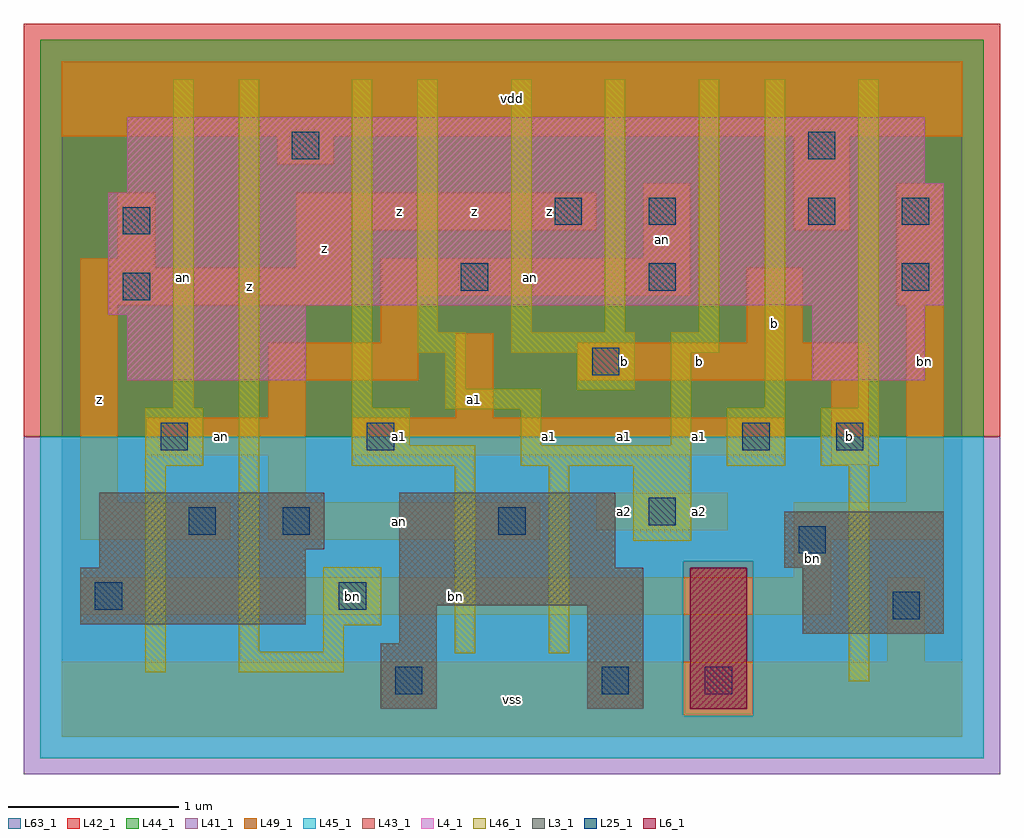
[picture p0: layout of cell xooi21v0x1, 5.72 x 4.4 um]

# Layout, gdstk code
import gdstk
lib = gdstk.Library(unit=1e-6, precision=1e-09)
def R(c, l, rs):  # rectangles x0, y0, x1, y1
    for r in rs: c.add(gdstk.rectangle(r[:2], r[2:], *l))
def A(c, l, x, y, w, h, nx, ny, dx, dy):  # array of equal rectangles
    R(c, l, [(x+i*dx, y+j*dy, x+i*dx+w, y+j*dy+h) for i in range(nx) for j in range(ny)])
L3_1 = (3, 1)
L4_1 = (4, 1)
L6_1 = (6, 1)
L25_1 = (25, 1)
L41_1 = (41, 1)
L42_1 = (42, 1)
L43_1 = (43, 1)
L44_1 = (44, 1)
L45_1 = (45, 1)
L46_1 = (46, 1)
L49_1 = (49, 1)
L63_1 = (63, 1)

xooi21v0x1 = lib.new_cell('xooi21v0x1')
R(xooi21v0x1, L3_1, [(1.87,0.165,2.2,0.55), (3.08,0.165,3.41,0.77), (1.98,0.55,2.2,0.77), (4.345,0.605,5.17,0.99), (0.11,0.66,1.43,0.99), (1.98,0.77,3.41,0.99), (0.22,0.99,1.43,1.1), (1.98,0.99,3.245,1.43), (4.235,0.99,5.17,1.32), (0.22,1.1,1.54,1.43)])
R(xooi21v0x1, L4_1, [(0.385,2.09,1.43,2.475), (4.4,2.09,5.06,2.53), (0.275,2.475,1.43,2.53), (0.275,2.53,5.17,3.19), (0.385,3.19,5.17,3.245), (0.385,3.245,5.06,3.63)])
R(xooi21v0x1, L6_1, [(3.685,0.165,4.015,0.99)])
R(xooi21v0x1, L25_1, [(1.955,0.25,2.115,0.41), (3.165,0.25,3.325,0.41), (3.77,0.25,3.93,0.41), (4.87,0.69,5.03,0.85), (0.195,0.745,0.355,0.905), (1.625,0.745,1.785,0.905), (4.32,1.075,4.48,1.235), (0.745,1.185,0.905,1.345), (1.295,1.185,1.455,1.345), (2.56,1.185,2.72,1.345), (3.44,1.24,3.6,1.4), (0.58,1.68,0.74,1.84), (1.79,1.68,1.95,1.84), (3.99,1.68,4.15,1.84), (4.54,1.68,4.7,1.84), (3.11,2.12,3.27,2.28), (0.36,2.56,0.52,2.72), (2.34,2.615,2.5,2.775), (3.44,2.615,3.6,2.775), (4.925,2.615,5.085,2.775), (0.36,2.945,0.52,3.105), (2.89,3,3.05,3.16), (3.44,3,3.6,3.16), (4.375,3,4.535,3.16), (4.925,3,5.085,3.16), (1.35,3.385,1.51,3.545), (4.375,3.385,4.535,3.545)])
R(xooi21v0x1, L41_1, [(-0.22,-0.22,5.5,1.76)])
R(xooi21v0x1, L42_1, [(-0.22,1.76,5.5,4.18)])
R(xooi21v0x1, L43_1, [(1.87,0.165,2.2,0.55), (3.08,0.165,3.41,0.77), (3.685,0.165,4.015,0.99), (1.98,0.55,2.2,0.77), (4.345,0.605,5.17,0.99), (0.11,0.66,1.43,0.99), (1.98,0.77,3.41,0.99), (0.22,0.99,1.43,1.1), (1.98,0.99,3.245,1.43), (4.235,0.99,5.17,1.32), (0.22,1.1,1.54,1.43), (0.385,2.09,1.43,2.475), (4.4,2.09,5.06,2.53), (0.275,2.475,1.43,2.53), (0.275,2.53,5.17,3.19), (0.385,3.19,5.17,3.245), (0.385,3.245,5.06,3.63)])
R(xooi21v0x1, L44_1, [(3.645,0.125,4.055,1.03), (-0.125,1.76,5.405,4.085)])
R(xooi21v0x1, L45_1, [(-0.125,-0.125,5.405,0.125), (-0.125,0.125,3.645,1.03), (4.055,0.125,5.405,1.03), (-0.125,1.03,5.405,1.76)])
A(xooi21v0x1, L46_1, 2.085, 2.37, 0.12, 1.485, 4, 1, 0.55, 0)
R(xooi21v0x1, L46_1, [(4.615,0.325,4.735,1.59), (0.49,0.38,0.61,1.59), (1.04,0.38,1.655,0.5), (2.305,0.49,2.425,1.59), (2.855,0.49,2.975,1.59), (1.04,0.5,1.16,3.855), (1.535,0.5,1.655,0.655), (1.535,0.655,1.875,0.995), (3.35,1.15,3.69,1.59), (0.49,1.59,0.83,1.93), (1.7,1.59,2.425,1.71), (2.69,1.59,3.69,1.71), (3.9,1.59,4.24,1.93), (4.45,1.59,4.79,1.93), (1.7,1.71,2.04,1.93), (2.69,1.71,2.81,1.92), (3.57,1.71,3.69,2.25), (2.25,1.92,2.81,2.04), (0.655,1.93,0.775,3.855), (1.7,1.93,1.82,3.855), (4.12,1.93,4.24,3.855), (4.67,1.93,4.79,3.855), (3.02,2.03,3.36,2.25), (2.25,2.04,2.37,2.25), (2.085,2.25,2.37,2.37), (2.635,2.25,3.36,2.37), (3.57,2.25,3.855,2.37)])
R(xooi21v0x1, L49_1, [(0,0,5.28,0.44), (4.84,0.44,5.06,0.935), (0.11,0.715,4.51,0.935), (4.29,0.935,4.51,1.155), (0.11,1.155,0.99,1.375), (1.21,1.155,2.805,1.375), (4.29,1.155,5.17,1.375), (3.135,1.21,3.905,1.43), (0.11,1.375,0.33,2.53), (1.21,1.375,1.43,1.65), (4.95,1.375,5.17,2.53), (4.51,1.595,4.73,2.09), (0.495,1.65,1.43,1.87), (1.705,1.65,4.235,1.87), (1.21,1.87,1.43,2.09), (2.31,1.87,2.53,2.365), (1.21,2.09,2.09,2.31), (3.025,2.09,4.73,2.31), (1.87,2.31,2.09,2.585), (4.015,2.31,4.345,2.75), (0.11,2.53,1.705,2.75), (4.895,2.53,5.17,3.245), (1.87,2.585,3.685,2.805), (0.11,2.75,0.55,2.805), (1.375,2.75,1.705,2.97), (0.33,2.805,0.55,3.19), (3.41,2.805,3.685,3.245), (1.375,2.97,3.135,3.19), (4.29,2.97,4.62,3.52), (1.265,3.355,1.595,3.52), (0,3.52,5.28,3.96)])
R(xooi21v0x1, L63_1, [(0,0,5.28,3.96)])
xooi21v0x1.add(gdstk.Label('an', (0.715,2.695), layer=46, texttype=1))
xooi21v0x1.add(gdstk.Label('bn', (1.705,0.825), layer=49, texttype=1))
xooi21v0x1.add(gdstk.Label('z', (0.22,1.98), layer=49, texttype=1))
xooi21v0x1.add(gdstk.Label('z', (0.66,2.64), layer=49, texttype=1))
xooi21v0x1.add(gdstk.Label('an', (0.935,1.76), layer=49, texttype=1))
xooi21v0x1.add(gdstk.Label('z', (1.1,2.64), layer=49, texttype=1))
xooi21v0x1.add(gdstk.Label('z', (1.54,2.86), layer=49, texttype=1))
xooi21v0x1.add(gdstk.Label('vss', (2.64,0.22), layer=49, texttype=1))
xooi21v0x1.add(gdstk.Label('an', (1.98,1.265), layer=49, texttype=1))
xooi21v0x1.add(gdstk.Label('a1', (2.86,1.76), layer=49, texttype=1))
xooi21v0x1.add(gdstk.Label('a1', (1.98,1.76), layer=49, texttype=1))
xooi21v0x1.add(gdstk.Label('a1', (2.42,1.98), layer=49, texttype=1))
xooi21v0x1.add(gdstk.Label('z', (2.42,3.08), layer=49, texttype=1))
xooi21v0x1.add(gdstk.Label('z', (2.86,3.08), layer=49, texttype=1))
xooi21v0x1.add(gdstk.Label('z', (1.98,3.08), layer=49, texttype=1))
xooi21v0x1.add(gdstk.Label('vdd', (2.64,3.74), layer=49, texttype=1))
xooi21v0x1.add(gdstk.Label('a2', (3.3,1.32), layer=49, texttype=1))
xooi21v0x1.add(gdstk.Label('a2', (3.74,1.32), layer=49, texttype=1))
xooi21v0x1.add(gdstk.Label('a1', (3.74,1.76), layer=49, texttype=1))
xooi21v0x1.add(gdstk.Label('a1', (3.3,1.76), layer=49, texttype=1))
xooi21v0x1.add(gdstk.Label('b', (3.3,2.2), layer=49, texttype=1))
xooi21v0x1.add(gdstk.Label('b', (3.74,2.2), layer=49, texttype=1))
xooi21v0x1.add(gdstk.Label('b', (4.18,2.42), layer=49, texttype=1))
xooi21v0x1.add(gdstk.Label('an', (2.75,2.695), layer=49, texttype=1))
xooi21v0x1.add(gdstk.Label('an', (3.52,2.915), layer=49, texttype=1))
xooi21v0x1.add(gdstk.Label('bn', (4.4,1.045), layer=49, texttype=1))
xooi21v0x1.add(gdstk.Label('bn', (2.31,0.825), layer=49, texttype=1))
xooi21v0x1.add(gdstk.Label('b', (4.62,1.76), layer=49, texttype=1))
xooi21v0x1.add(gdstk.Label('bn', (5.06,2.2), layer=49, texttype=1))

lib.write_gds('xooi21v0x1.gds')
